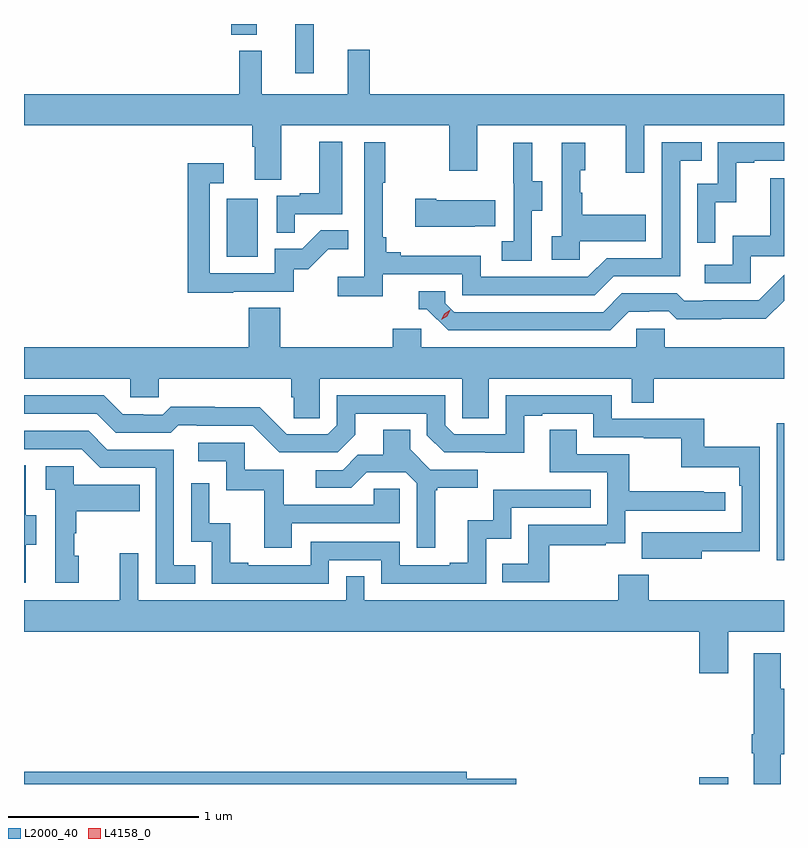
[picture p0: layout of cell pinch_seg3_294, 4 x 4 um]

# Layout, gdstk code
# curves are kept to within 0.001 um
import gdstk
lib = gdstk.Library(unit=1e-6, precision=1e-09)
def R(c, l, rs):  # rectangles x0, y0, x1, y1
    for r in rs: c.add(gdstk.rectangle(r[:2], r[2:], *l))
def P(c, l, *ps):  # polygons
    for p in ps: c.add(gdstk.Polygon(p, *l))
L2000_40 = (2000, 40)
L4158_0 = (4158, 0)

pinch_seg3_294 = lib.new_cell('pinch_seg3_294')
R(pinch_seg3_294, L2000_40, [(967.451,725.422,967.603,725.458), (967.859,726.6,967.897,727.321), (964.964,728.196,965.128,728.503), (965.325,729.162,965.422,729.422), (964.988,729.365,965.122,729.422)])
P(pinch_seg3_294, L2000_40, [(965.717,729.286),(965.6,729.286),(965.6,729.052),(965.147,729.052),(965.147,729.28),(965.029,729.28),(965.029,729.052),(963.897,729.052),(963.897,728.888),(965.099,728.888),(965.099,728.776),(965.111,728.776),(965.111,728.602),(965.251,728.602),(965.251,728.888),(966.136,728.888),(966.136,728.649),(966.283,728.649),(966.283,728.888),(967.064,728.888),(967.064,728.64),(967.161,728.64),(967.161,728.888),(967.897,728.888),(967.897,729.052),(965.717,729.052)],
  [(965.321,728.421),(965.572,728.421),(965.572,728.803),(965.45,728.803),(965.45,728.53),(965.347,728.53),(965.347,728.517),(965.226,728.517),(965.226,728.323),(965.321,728.323)],
  [(965.786,728.106),(966.204,728.106),(966.204,727.995),(966.901,727.995),(967,728.094),(967.35,728.094),(967.35,728.703),(967.463,728.703),(967.463,728.799),(967.254,728.799),(967.254,728.19),(966.963,728.19),(966.864,728.091),(966.3,728.091),(966.3,728.203),(965.881,728.203),(965.881,728.222),(965.804,728.222),(965.804,728.299),(965.785,728.299),(965.785,728.587),(965.797,728.587),(965.797,728.8),(965.688,728.8),(965.688,728.092),(965.547,728.092),(965.547,727.99),(965.786,727.99)],
  [(967.536,728.483),(967.646,728.483),(967.646,728.691),(967.741,728.691),(967.741,728.703),(967.897,728.703),(967.897,728.799),(967.548,728.799),(967.548,728.58),(967.44,728.58),(967.44,728.271),(967.536,728.271)],
  [(966.822,728.279),(967.169,728.279),(967.169,728.419),(966.835,728.419),(966.835,728.534),(966.825,728.534),(966.825,728.652),(966.85,728.652),(966.85,728.797),(966.726,728.797),(966.726,728.306),(966.675,728.306),(966.675,728.181),(966.822,728.181)],
  [(966.57,728.44),(966.625,728.44),(966.625,728.595),(966.571,728.595),(966.571,728.797),(966.473,728.797),(966.473,728.583),(966.474,728.583),(966.474,728.279),(966.411,728.279),(966.411,728.176),(966.57,728.176)],
  [(964.997,728.013),(965.316,728.013),(965.316,728.13),(965.392,728.13),(965.499,728.237),(965.603,728.237),(965.603,728.336),(965.46,728.336),(965.362,728.238),(965.217,728.238),(965.217,728.109),(964.875,728.109),(964.875,728.583),(964.948,728.583),(964.948,728.689),(964.759,728.689),(964.759,728.008),(964.997,728.008)],
  [(967.722,728.199),(967.897,728.199),(967.897,728.611),(967.825,728.611),(967.825,728.308),(967.626,728.308),(967.626,728.154),(967.479,728.154),(967.479,728.058),(967.722,728.058)],
  [(966.269,728.357),(966.377,728.357),(966.377,728.494),(966.067,728.494),(966.067,728.502),(965.955,728.502),(965.955,728.354),(966.269,728.354)],
  [(967.081,727.908),(967.188,727.908),(967.188,727.911),(967.291,727.911),(967.333,727.869),(967.566,727.869),(967.566,727.871),(967.802,727.871),(967.897,727.966),(967.897,728.101),(967.764,727.968),(967.471,727.968),(967.471,727.965),(967.372,727.965),(967.333,728.004),(967.044,728.004),(966.945,727.905),(966.162,727.905),(966.114,727.953),(966.114,728.016),(965.975,728.016),(965.975,727.92),(966.018,727.92),(966.129,727.809),(966.982,727.809)],
  [(965.454,727.556),(966.204,727.556),(966.204,727.348),(966.343,727.348),(966.343,727.556),(967.095,727.556),(967.095,727.429),(967.211,727.429),(967.211,727.556),(967.897,727.556),(967.897,727.72),(967.269,727.72),(967.269,727.818),(967.119,727.818),(967.119,727.72),(965.988,727.72),(965.988,727.818),(965.837,727.818),(965.837,727.72),(965.246,727.72),(965.246,727.928),(965.081,727.928),(965.081,727.72),(963.897,727.72),(963.897,727.556),(964.455,727.556),(964.455,727.458),(964.605,727.458),(964.605,727.556),(965.303,727.556),(965.303,727.458),(965.317,727.458),(965.317,727.348),(965.454,727.348)],
  [(967.465,726.646),(967.77,726.646),(967.77,727.198),(967.477,727.198),(967.477,727.344),(966.99,727.344),(966.99,727.467),(966.432,727.467),(966.432,727.263),(966.162,727.263),(966.114,727.311),(966.114,727.467),(965.544,727.467),(965.544,727.311),(965.496,727.263),(965.28,727.263),(965.138,727.405),(964.902,727.405),(964.902,727.408),(964.669,727.408),(964.627,727.365),(964.524,727.365),(964.524,727.368),(964.417,727.368),(964.318,727.467),(963.897,727.467),(963.897,727.371),(964.281,727.371),(964.38,727.272),(964.669,727.272),(964.708,727.311),(964.807,727.311),(964.807,727.308),(965.1,727.308),(965.241,727.167),(965.547,727.167),(965.641,727.261),(965.641,727.371),(966.018,727.371),(966.018,727.257),(966.108,727.167),(966.529,727.166),(966.529,727.359),(966.625,727.359),(966.625,727.371),(966.894,727.371),(966.894,727.248),(967.159,727.248),(967.159,727.243),(967.356,727.243),(967.356,727.088),(967.661,727.088),(967.661,726.992),(967.674,726.992),(967.674,726.747),(967.147,726.748),(967.147,726.608),(967.465,726.608)],
  [(966.661,726.678),(966.959,726.678),(966.959,726.689),(967.062,726.689),(967.062,726.861),(967.588,726.861),(967.588,726.957),(967.475,726.957),(967.475,726.962),(967.082,726.962),(967.082,727.158),(966.805,727.158),(966.805,727.286),(966.665,727.286),(966.665,727.062),(966.966,727.062),(966.966,726.786),(966.55,726.786),(966.55,726.58),(966.415,726.58),(966.415,726.483),(966.661,726.483)],
  [(966.061,726.969),(966.073,726.969),(966.073,726.98),(966.286,726.98),(966.286,727.077),(966.036,727.077),(965.929,727.184),(965.929,727.286),(965.789,727.286),(965.789,727.154),(965.654,727.154),(965.574,727.074),(965.433,727.074),(965.433,726.981),(965.62,726.981),(965.701,727.062),(965.907,727.062),(965.964,727.005),(965.964,726.666),(966.061,726.666)],
  [(964.799,726.573),(964.686,726.573),(964.686,727.182),(964.336,727.182),(964.237,727.281),(963.897,727.281),(963.897,727.185),(964.2,727.185),(964.299,727.086),(964.59,727.086),(964.59,726.477),(964.799,726.477)],
  [(965.305,726.795),(965.874,726.795),(965.874,726.975),(965.737,726.975),(965.737,726.891),(965.263,726.891),(965.263,727.077),(965.058,727.077),(965.058,727.218),(964.815,727.218),(964.815,727.122),(964.962,727.122),(964.962,726.969),(965.161,726.969),(965.161,726.666),(965.305,726.666)],
  [(963.907,726.682),(963.961,726.682),(963.961,726.837),(963.906,726.837),(963.906,727.1),(963.897,727.1),(963.897,726.48),(963.907,726.48)],
  [(964.186,726.624),(964.161,726.624),(964.161,726.743),(964.171,726.743),(964.171,726.857),(964.505,726.857),(964.505,726.997),(964.158,726.997),(964.158,727.095),(964.011,727.095),(964.011,726.971),(964.062,726.971),(964.062,726.48),(964.186,726.48)],
  [(965.502,726.6),(965.778,726.6),(965.778,726.477),(966.33,726.477),(966.33,726.713),(966.462,726.713),(966.462,726.876),(966.881,726.876),(966.881,726.972),(966.366,726.972),(966.366,726.811),(966.233,726.811),(966.233,726.586),(966.137,726.586),(966.137,726.573),(965.874,726.573),(965.874,726.696),(965.406,726.696),(965.406,726.573),(965.077,726.573),(965.077,726.586),(964.982,726.586),(964.982,726.794),(964.872,726.794),(964.872,727.006),(964.776,727.006),(964.776,726.696),(964.884,726.696),(964.884,726.477),(965.502,726.477)],
  [(967.603,726.224),(967.897,726.224),(967.897,726.388),(967.184,726.388),(967.184,726.523),(967.024,726.523),(967.024,726.388),(965.688,726.388),(965.688,726.515),(965.592,726.515),(965.592,726.388),(964.497,726.388),(964.497,726.637),(964.4,726.637),(964.4,726.388),(963.897,726.388),(963.897,726.224),(967.451,726.224),(967.451,726.006),(967.603,726.006)],
  [(967.879,725.579),(967.897,725.579),(967.897,725.923),(967.879,725.923),(967.879,726.109),(967.739,726.109),(967.739,725.683),(967.727,725.683),(967.727,725.583),(967.739,725.583),(967.739,725.422),(967.879,725.422)],
  [(966.487,725.45),(966.226,725.45),(966.226,725.486),(963.897,725.486),(963.897,725.422),(966.487,725.422)])
P(pinch_seg3_294, L4158_0, [(966.093,727.865),(966.093,727.865),(966.109,727.898),(966.14,727.917),(966.14,727.917),(966.14,727.917),(966.124,727.884),(966.094,727.865)])

lib.write_gds('pinch_seg3_294.gds')
